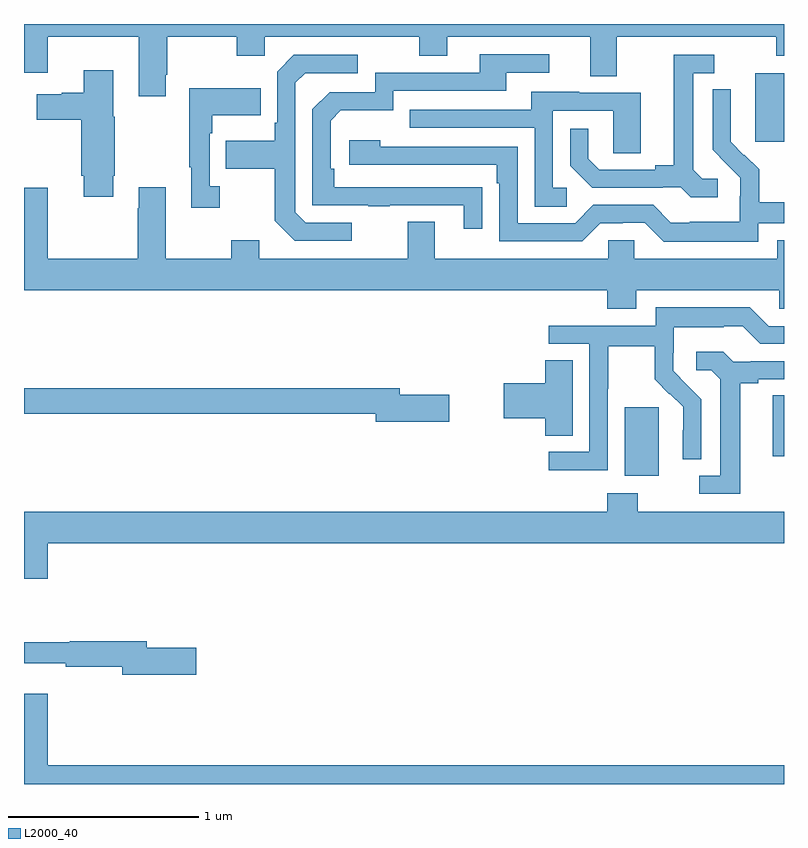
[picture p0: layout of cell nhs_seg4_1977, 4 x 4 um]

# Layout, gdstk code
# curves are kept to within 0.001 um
import gdstk
lib = gdstk.Library(unit=1e-6, precision=1e-09)
def R(c, l, rs):  # rectangles x0, y0, x1, y1
    for r in rs: c.add(gdstk.rectangle(r[:2], r[2:], *l))
def P(c, l, *ps):  # polygons
    for p in ps: c.add(gdstk.Polygon(p, *l))
L2000_40 = (2000, 40)

nhs_seg4_1977 = lib.new_cell('nhs_seg4_1977')
R(nhs_seg4_1977, L2000_40, [(216.161,782.522,216.34,782.883), (216.941,782.625,217,782.945), (216.848,784.281,217,784.642)])
P(nhs_seg4_1977, L2000_40, [(213.745,784.633),(213.753,784.633),(213.753,784.832),(214.12,784.832),(214.12,784.733),(214.266,784.733),(214.266,784.832),(215.08,784.832),(215.08,784.733),(215.227,784.733),(215.227,784.832),(215.981,784.832),(215.981,784.624),(216.121,784.624),(216.121,784.832),(216.958,784.832),(216.958,784.733),(217,784.733),(217,784.9),(213,784.9),(213,784.644),(213.124,784.644),(213.124,784.832),(213.605,784.832),(213.605,784.521),(213.745,784.521)],
  [(215.411,784.04),(214.634,784.041),(214.634,784.138),(214.614,784.138),(214.614,784.392),(214.667,784.445),(214.944,784.445),(214.944,784.548),(215.539,784.548),(215.539,784.644),(215.764,784.644),(215.764,784.74),(215.399,784.74),(215.399,784.644),(214.848,784.644),(214.848,784.542),(214.608,784.542),(214.518,784.452),(214.518,783.945),(214.813,783.945),(214.813,783.94),(214.925,783.94),(214.925,783.945),(215.315,783.945),(215.315,783.822),(215.411,783.822)],
  [(216.652,784.086),(216.57,784.086),(216.523,784.133),(216.523,784.641),(216.634,784.641),(216.634,784.737),(216.419,784.737),(216.419,784.157),(216.323,784.157),(216.323,784.134),(216.028,784.134),(215.971,784.191),(215.971,784.348),(215.874,784.348),(215.874,784.154),(215.99,784.038),(216.362,784.038),(216.362,784.041),(216.456,784.041),(216.508,783.989),(216.652,783.989)],
  [(214.726,783.855),(214.482,783.855),(214.428,783.909),(214.428,784.59),(214.479,784.641),(214.756,784.641),(214.756,784.737),(214.419,784.737),(214.332,784.65),(214.332,784.381),(214.32,784.381),(214.32,784.285),(214.063,784.285),(214.063,784.138),(214.32,784.138),(214.32,783.865),(214.425,783.759),(214.726,783.759)],
  [(213.469,784.102),(213.477,784.102),(213.477,784.413),(213.469,784.413),(213.469,784.657),(213.314,784.657),(213.314,784.539),(213.198,784.539),(213.198,784.531),(213.066,784.531),(213.066,784.397),(213.302,784.397),(213.302,784.102),(213.314,784.102),(213.314,783.99),(213.469,783.99)],
  [(214.03,784.046),(213.978,784.046),(213.978,784.325),(213.991,784.325),(213.991,784.421),(214.247,784.421),(214.247,784.561),(213.87,784.561),(213.87,784.145),(213.881,784.145),(213.881,783.933),(214.03,783.933)],
  [(216.864,783.852),(217,783.852),(217,783.961),(216.869,783.961),(216.869,784.135),(216.792,784.212),(216.789,784.209),(216.719,784.28),(216.72,784.556),(216.624,784.556),(216.624,784.238),(216.77,784.09),(216.77,783.993),(216.768,783.993),(216.768,783.859),(216.505,783.859),(216.505,783.855),(216.405,783.855),(216.312,783.948),(215.997,783.948),(215.901,783.852),(215.598,783.852),(215.598,784.254),(214.874,784.254),(214.874,784.288),(214.713,784.288),(214.713,784.158),(215.489,784.158),(215.489,784.061),(215.502,784.061),(215.502,783.756),(215.937,783.756),(216.033,783.852),(216.152,783.852),(216.152,783.855),(216.267,783.855),(216.367,783.755),(216.864,783.755)],
  [(215.857,784.038),(215.784,784.038),(215.784,784.443),(216.102,784.443),(216.102,784.219),(216.247,784.219),(216.247,784.539),(215.923,784.539),(215.923,784.543),(215.669,784.543),(215.669,784.449),(215.029,784.449),(215.029,784.353),(215.688,784.353),(215.688,783.937),(215.857,783.937)],
  [(216.223,783.5),(216.975,783.5),(216.975,783.402),(217,783.402),(217,783.763),(216.965,783.763),(216.965,783.664),(216.213,783.664),(216.213,783.762),(216.075,783.762),(216.075,783.664),(215.161,783.664),(215.161,783.859),(215.021,783.859),(215.021,783.664),(214.237,783.664),(214.237,783.763),(214.09,783.763),(214.09,783.664),(213.745,783.664),(213.745,784.042),(213.605,784.042),(213.605,783.929),(213.598,783.929),(213.598,783.664),(213.124,783.664),(213.124,784.039),(213,784.039),(213,783.5),(216.071,783.5),(216.071,783.401),(216.223,783.401)],
  [(216.072,782.98),(216.075,782.98),(216.075,783.204),(216.319,783.204),(216.319,783.029),(216.396,782.952),(216.399,782.955),(216.47,782.885),(216.47,782.762),(216.468,782.762),(216.468,782.608),(216.564,782.608),(216.564,782.926),(216.418,783.074),(216.418,783.171),(216.42,783.171),(216.42,783.305),(216.683,783.305),(216.683,783.309),(216.783,783.309),(216.876,783.216),(217,783.216),(217,783.309),(216.921,783.309),(216.821,783.409),(216.324,783.409),(216.324,783.312),(215.763,783.312),(215.763,783.216),(215.976,783.216),(215.976,782.649),(215.763,782.649),(215.763,782.551),(216.072,782.551)],
  [(216.769,783.008),(216.865,783.008),(216.865,783.03),(217,783.03),(217,783.126),(216.826,783.126),(216.826,783.123),(216.732,783.123),(216.68,783.175),(216.537,783.175),(216.537,783.078),(216.618,783.078),(216.665,783.031),(216.665,782.523),(216.555,782.523),(216.555,782.427),(216.769,782.427)],
  [(215.887,783.131),(215.744,783.131),(215.744,783.008),(215.526,783.008),(215.526,782.825),(215.744,782.825),(215.744,782.734),(215.887,782.734)],
  [(215.239,782.948),(214.978,782.948),(214.978,782.984),(213,782.984),(213,782.848),(214.85,782.848),(214.85,782.806),(215.239,782.806)],
  [(213.124,782.168),(217,782.168),(217,782.332),(216.231,782.332),(216.231,782.431),(216.071,782.431),(216.071,782.332),(213,782.332),(213,781.98),(213.124,781.98)],
  [(213.907,781.616),(213.646,781.616),(213.646,781.652),(213.242,781.652),(213.242,781.645),(213,781.645),(213,781.535),(213.22,781.535),(213.22,781.516),(213.518,781.516),(213.518,781.474),(213.907,781.474)],
  [(217,781),(213.124,781),(213.124,781.375),(213,781.375),(213,780.9),(217,780.9)])

lib.write_gds('nhs_seg4_1977.gds')
